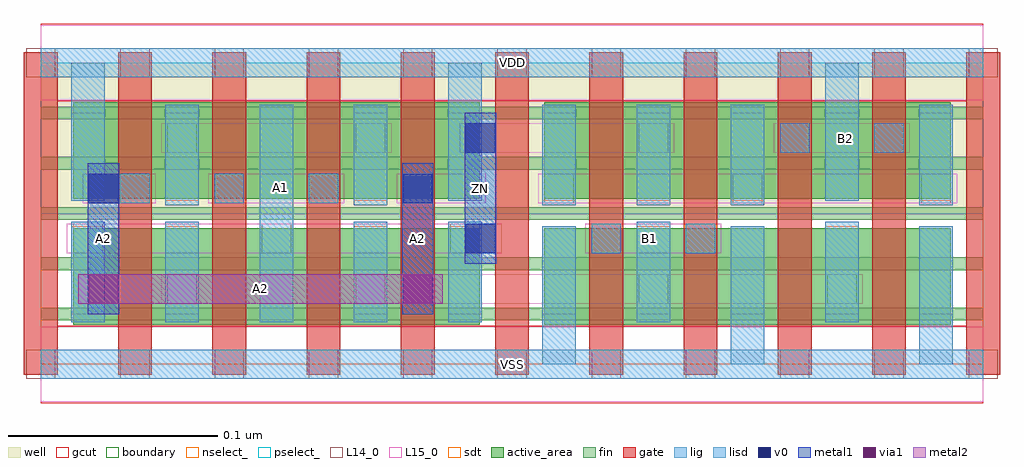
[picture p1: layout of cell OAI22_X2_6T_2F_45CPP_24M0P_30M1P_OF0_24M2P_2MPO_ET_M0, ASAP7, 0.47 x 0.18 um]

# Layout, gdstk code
import gdstk
lib = gdstk.Library(unit=1e-6, precision=2.5e-10)
def R(c, l, rs):  # rectangles x0, y0, x1, y1
    for r in rs: c.add(gdstk.rectangle(r[:2], r[2:], *l))
def A(c, l, x, y, w, h, nx, ny, dx, dy):  # array of equal rectangles
    R(c, l, [(x+i*dx, y+j*dy, x+i*dx+w, y+j*dy+h) for i in range(nx) for j in range(ny)])
well = (1, 0)
fin = (2, 0)
gate = (7, 0)
gcut = (10, 0)
active_area = (11, 0)
nselect_ = (12, 0)
pselect_ = (13, 0)
L14_0 = (14, 0)
L15_0 = (15, 0)
lig = (16, 0)
lisd = (17, 0)
v0 = (18, 0)
metal1 = (19, 0)
metal2 = (20, 0)
via1 = (21, 0)
sdt = (88, 0)
boundary = (100, 0)

oai22_x2_6t_2f_45cpp_24m = lib.new_cell('OAI22_X2_6T_2F_45CPP_24M0P_30M1P_OF0_24M2P_2MPO_ET_M0')
R(oai22_x2_6t_2f_45cpp_24m, well, [(0,0.072,0.45,0.144)])
A(oai22_x2_6t_2f_45cpp_24m, fin, 0, 0.021, 0.45, 0.006, 1, 5, 0, 0.024)
A(oai22_x2_6t_2f_45cpp_24m, gate, -0.008, -0.005, 0.016, 0.154, 11, 1, 0.045, 0)
R(oai22_x2_6t_2f_45cpp_24m, gcut, [(0,-0.0185,0.45,0.0185), (-0.008,-0.005,0.008,0.149), (0.442,-0.005,0.458,0.149), (0,0.1255,0.45,0.1625)])
A(oai22_x2_6t_2f_45cpp_24m, active_area, 0.0155, 0.019, 0.059, 0.046, 4, 2, 0.045, 0.06)
A(oai22_x2_6t_2f_45cpp_24m, active_area, 0.2405, 0.019, 0.059, 0.046, 4, 2, 0.045, 0.06)
R(oai22_x2_6t_2f_45cpp_24m, nselect_, [(0,0,0.45,0.072)])
R(oai22_x2_6t_2f_45cpp_24m, pselect_, [(0,0.072,0.45,0.144)])
A(oai22_x2_6t_2f_45cpp_24m, L14_0, -0.007, -0.007, 0.014, 0.014, 11, 2, 0.045, 0.144)
A(oai22_x2_6t_2f_45cpp_24m, L14_0, 0.0155, 0.053, 0.014, 0.014, 3, 1, 0.09, 0)
A(oai22_x2_6t_2f_45cpp_24m, L14_0, 0.038, 0.077, 0.014, 0.014, 4, 1, 0.045, 0)
A(oai22_x2_6t_2f_45cpp_24m, L14_0, 0.2405, 0.077, 0.014, 0.014, 3, 1, 0.09, 0)
R(oai22_x2_6t_2f_45cpp_24m, L14_0, [(0.0605,0.029,0.0745,0.043), (0.1505,0.029,0.1645,0.043), (0.2855,0.029,0.2995,0.043), (0.3755,0.029,0.3895,0.043), (0.263,0.053,0.277,0.067), (0.308,0.053,0.322,0.067), (0.0605,0.101,0.0745,0.115), (0.1505,0.101,0.1645,0.115), (0.2855,0.101,0.2995,0.115), (0.353,0.101,0.367,0.115), (0.398,0.101,0.412,0.115)])
R(oai22_x2_6t_2f_45cpp_24m, L15_0, [(0,-0.018,0.45,0.018), (0.0575,0.029,0.3925,0.043), (0.0125,0.053,0.22,0.067), (0.26,0.053,0.325,0.067), (0.02,0.077,0.055,0.091), (0.08,0.077,0.145,0.091), (0.17,0.077,0.2125,0.091), (0.2375,0.077,0.4375,0.091), (0.0575,0.101,0.1675,0.115), (0.2,0.101,0.3025,0.115), (0.35,0.101,0.415,0.115), (0,0.126,0.45,0.162)])
A(oai22_x2_6t_2f_45cpp_24m, lig, 0.038, 0.077, 0.014, 0.014, 4, 1, 0.045, 0)
R(oai22_x2_6t_2f_45cpp_24m, lig, [(0,-0.007,0.45,0.007), (0.263,0.053,0.277,0.067), (0.308,0.053,0.322,0.067), (0.353,0.101,0.367,0.115), (0.398,0.101,0.412,0.115), (0,0.137,0.45,0.151)])
A(oai22_x2_6t_2f_45cpp_24m, lisd, 0.0145, 0.078, 0.016, 0.066, 3, 1, 0.18, 0)
R(oai22_x2_6t_2f_45cpp_24m, lisd, [(0.2395,0,0.2555,0.066), (0.3295,0,0.3455,0.066), (0.3295,0,0.3455,0.066), (0.4195,0,0.4355,0.066), (0.0145,0.02,0.0305,0.068), (0.0595,0.02,0.0755,0.068), (0.0595,0.02,0.0755,0.068), (0.1045,0.02,0.1205,0.124), (0.1045,0.02,0.1205,0.124), (0.1495,0.02,0.1655,0.068), (0.1495,0.02,0.1655,0.068), (0.1945,0.02,0.2105,0.068), (0.2845,0.02,0.3005,0.068), (0.2845,0.02,0.3005,0.068), (0.3745,0.02,0.3905,0.068), (0.3745,0.02,0.3905,0.068), (0.0595,0.076,0.0755,0.124), (0.0595,0.076,0.0755,0.124), (0.1495,0.076,0.1655,0.124), (0.1495,0.076,0.1655,0.124), (0.2395,0.076,0.2555,0.124), (0.2845,0.076,0.3005,0.124), (0.2845,0.076,0.3005,0.124), (0.3295,0.076,0.3455,0.124), (0.3295,0.076,0.3455,0.124), (0.4195,0.076,0.4355,0.124), (0.3745,0.078,0.3905,0.144)])
R(oai22_x2_6t_2f_45cpp_24m, v0, [(0.203,0.053,0.217,0.067), (0.023,0.077,0.037,0.091), (0.173,0.077,0.187,0.091), (0.203,0.101,0.217,0.115)])
R(oai22_x2_6t_2f_45cpp_24m, metal1, [(0.0225,0.024,0.0375,0.096), (0.1725,0.024,0.1875,0.096), (0.2025,0.048,0.2175,0.12)])
R(oai22_x2_6t_2f_45cpp_24m, metal2, [(0.018,0.029,0.192,0.043)])
R(oai22_x2_6t_2f_45cpp_24m, via1, [(0.023,0.029,0.037,0.043), (0.173,0.029,0.187,0.043)])
A(oai22_x2_6t_2f_45cpp_24m, sdt, 0.1495, 0.024, 0.016, 0.042, 4, 2, 0.045, 0.054)
R(oai22_x2_6t_2f_45cpp_24m, sdt, [(0.1045,0.02,0.1205,0.124), (0.1045,0.02,0.1205,0.124), (0.0145,0.024,0.0305,0.066), (0.0595,0.024,0.0755,0.066), (0.0595,0.024,0.0755,0.066), (0.1495,0.024,0.1655,0.066), (0.2845,0.024,0.3005,0.066), (0.3295,0.024,0.3455,0.066), (0.3295,0.024,0.3455,0.066), (0.3745,0.024,0.3905,0.066), (0.3745,0.024,0.3905,0.066), (0.4195,0.024,0.4355,0.066), (0.0145,0.078,0.0305,0.12), (0.0595,0.078,0.0755,0.12), (0.0595,0.078,0.0755,0.12), (0.1495,0.078,0.1655,0.12), (0.2845,0.078,0.3005,0.12), (0.3295,0.078,0.3455,0.12), (0.3295,0.078,0.3455,0.12), (0.3745,0.078,0.3905,0.12), (0.3745,0.078,0.3905,0.12), (0.4195,0.078,0.4355,0.12)])
R(oai22_x2_6t_2f_45cpp_24m, boundary, [(0,0,0.45,0.144)])
oai22_x2_6t_2f_45cpp_24m.add(gdstk.Label('A1', (0.1145,0.0845), layer=15, texttype=251))
oai22_x2_6t_2f_45cpp_24m.add(gdstk.Label('B2', (0.384,0.108), layer=15, texttype=251))
oai22_x2_6t_2f_45cpp_24m.add(gdstk.Label('B1', (0.2905,0.06), layer=15, texttype=251))
oai22_x2_6t_2f_45cpp_24m.add(gdstk.Label('VSS', (0.225,0), layer=15, texttype=251))
oai22_x2_6t_2f_45cpp_24m.add(gdstk.Label('VDD', (0.225,0.144), layer=15, texttype=251))
oai22_x2_6t_2f_45cpp_24m.add(gdstk.Label('VDD', (0.225,0.144), layer=1, texttype=251))
oai22_x2_6t_2f_45cpp_24m.add(gdstk.Label('VSS', (0.225,0), layer=3, texttype=251))
oai22_x2_6t_2f_45cpp_24m.add(gdstk.Label('A2', (0.03,0.06), layer=19, texttype=251))
oai22_x2_6t_2f_45cpp_24m.add(gdstk.Label('A2', (0.18,0.06), layer=19, texttype=251))
oai22_x2_6t_2f_45cpp_24m.add(gdstk.Label('ZN', (0.21,0.084), layer=19, texttype=251))
oai22_x2_6t_2f_45cpp_24m.add(gdstk.Label('A2', (0.105,0.036), layer=20, texttype=251))

lib.write_gds('OAI22_X2_6T_2F_45CPP_24M0P_30M1P_OF0_24M2P_2MPO_ET_M0.gds')
